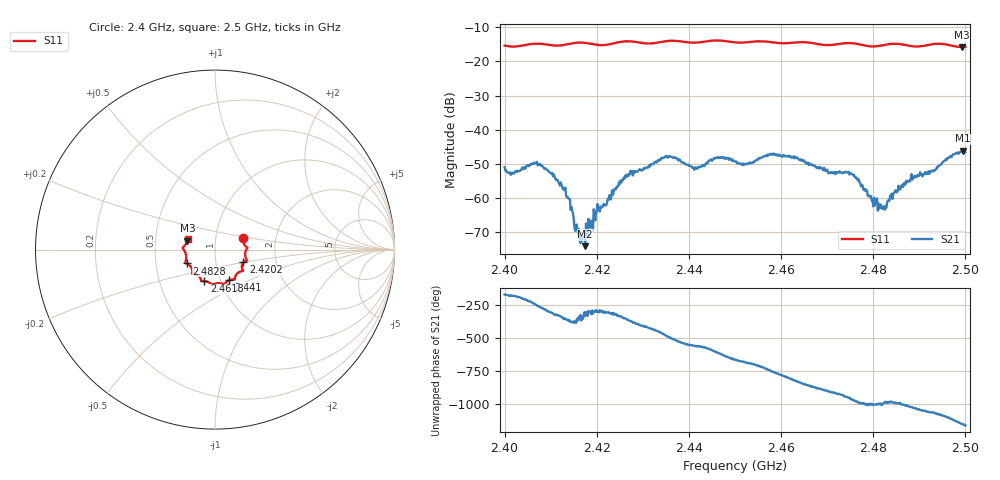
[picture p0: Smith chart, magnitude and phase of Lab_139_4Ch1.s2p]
# Hz S RI R 50
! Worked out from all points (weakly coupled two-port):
!   601 points, 2.4 GHz to 2.5 GHz, reference 50 ohm
!   highest |S21| = -46.15 dB at 2.4995 GHz (marker M1); lowest = -74.0 dB at 2.4175 GHz (marker M2)
!   lowest |S11| = -15.8 dB at 2.4992 GHz (marker M3), VSWR 1.39, Z = 36.5 + j3.66 ohm
!   |S11| at or under -10 dB: start of sweep to end of sweep
!   S12 and S22 are empty: the file has one direction only
!   S11 on the Smith chart (normalised r, x): 2.4 GHz: 1.36, +0.18; 2.4202 GHz: 1.36, -0.20; 2.441 GHz: 1.10, -0.39; 2.4618 GHz: 0.84, -0.30; 2.4828 GHz: 0.72, -0.11; 2.5 GHz: 0.73, +0.09
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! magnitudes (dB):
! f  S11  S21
! 2.4 GHz  -15.4  -51.0
! 2.4065 GHz  -14.9  -49.9
! 2.4102 GHz  -15.3  -52.9
! 2.4137 GHz  -15.0  -59.7
! 2.4167 GHz  -14.5  -72.7
! 2.4175 GHz  -14.6  -74.0
! 2.4202 GHz  -15.2  -61.7
! 2.4263 GHz  -14.2  -53.8
! 2.4333 GHz  -14.5  -48.9
! 2.4362 GHz  -14.0  -47.9
! 2.441 GHz  -14.6  -51.1
! 2.45 GHz  -14.5  -49.3
! 2.4618 GHz  -14.6  -47.8
! 2.4667 GHz  -14.6  -50.4
! 2.475 GHz  -14.7  -52.6
! 2.4815 GHz  -15.5  -62.5
! 2.4828 GHz  -15.1  -62.9
! 2.4833 GHz  -15.0  -60.7
! 2.4887 GHz  -15.6  -54.1
! 2.4992 GHz  -15.8  -46.4
! 2.4995 GHz  -15.8  -46.1
! 2.5 GHz  -15.7  -46.6
